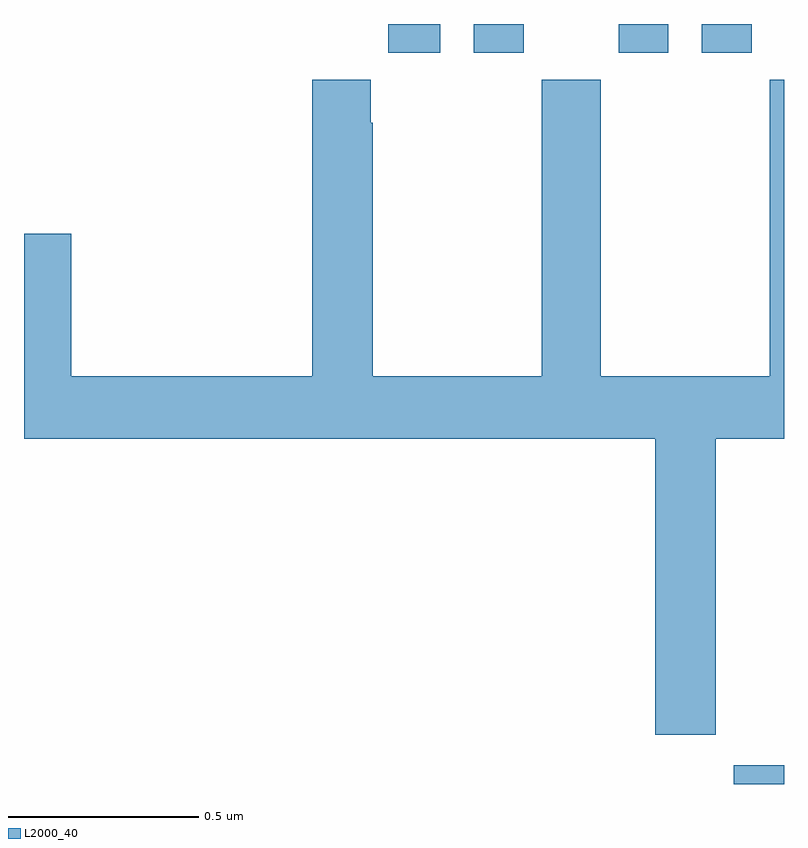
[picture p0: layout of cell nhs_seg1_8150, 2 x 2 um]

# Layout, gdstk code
import gdstk
lib = gdstk.Library(unit=1e-6, precision=1e-09)
def R(c, l, rs):  # rectangles x0, y0, x1, y1
    for r in rs: c.add(gdstk.rectangle(r[:2], r[2:], *l))
def P(c, l, *ps):  # polygons
    for p in ps: c.add(gdstk.Polygon(p, *l))
L2000_40 = (2000, 40)

nhs_seg1_8150 = lib.new_cell('nhs_seg1_8150')
R(nhs_seg1_8150, L2000_40, [(214.868,508.199,215,508.249), (213.959,510.123,214.096,510.199), (214.184,510.123,214.315,510.199), (214.565,510.123,214.696,510.199), (214.784,510.123,214.915,510.199)])
P(nhs_seg1_8150, L2000_40, [(214.821,509.108),(215,509.108),(215,510.052),(214.963,510.052),(214.963,509.272),(214.518,509.272),(214.518,510.052),(214.363,510.052),(214.363,509.272),(213.918,509.272),(213.918,509.939),(213.913,509.939),(213.913,510.052),(213.758,510.052),(213.758,509.272),(213.124,509.272),(213.124,509.647),(213,509.647),(213,509.108),(214.661,509.108),(214.661,508.329),(214.821,508.329)])

lib.write_gds('nhs_seg1_8150.gds')
